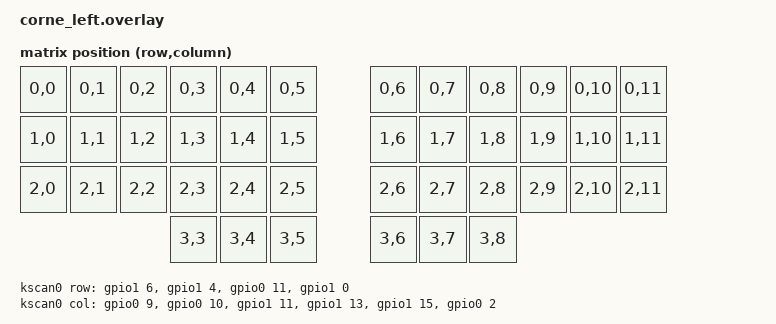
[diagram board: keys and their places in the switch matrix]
#include <dt-bindings/zmk/matrix_transform.h>

/ {
    chosen {
        zmk,kscan = &kscan0;
        zmk,matrix-transform = &default_transform;
    };

    // 4 Rows, 12 Columns master map layout for the Corne
    default_transform: keymap_transform_0 {
        compatible = "zmk,matrix-transform";
        columns = <12>;
        rows = <4>;

        map = <
RC(0,0) RC(0,1) RC(0,2) RC(0,3) RC(0,4) RC(0,5)  RC(0,6) RC(0,7) RC(0,8) RC(0,9) RC(0,10) RC(0,11)
RC(1,0) RC(1,1) RC(1,2) RC(1,3) RC(1,4) RC(1,5)  RC(1,6) RC(1,7) RC(1,8) RC(1,9) RC(1,10) RC(1,11)
RC(2,0) RC(2,1) RC(2,2) RC(2,3) RC(2,4) RC(2,5)  RC(2,6) RC(2,7) RC(2,8) RC(2,9) RC(2,10) RC(2,11)
                        RC(3,3) RC(3,4) RC(3,5)  RC(3,6) RC(3,7) RC(3,8)
        >;
    };

    kscan0: kscan_0 {
        compatible = "zmk,kscan-gpio-matrix";
        diode-direction = "col2row";
        wakeup-source;

        // Inverted row pins to drop the C keys back to the bottom row
        row-gpios
            = <&gpio1 6  (GPIO_ACTIVE_HIGH | GPIO_PULL_DOWN)> // Row 0
            , <&gpio1 4  (GPIO_ACTIVE_HIGH | GPIO_PULL_DOWN)> // Row 1
            , <&gpio0 11 (GPIO_ACTIVE_HIGH | GPIO_PULL_DOWN)> // Row 2
            , <&gpio1 0  (GPIO_ACTIVE_HIGH | GPIO_PULL_DOWN)> // Row 3
            ;

        col-gpios
            = <&gpio0 9  GPIO_ACTIVE_HIGH> // Col 0
            , <&gpio0 10 GPIO_ACTIVE_HIGH> // Col 1
            , <&gpio1 11 GPIO_ACTIVE_HIGH> // Col 2
            , <&gpio1 13 GPIO_ACTIVE_HIGH> // Col 3
            , <&gpio1 15 GPIO_ACTIVE_HIGH> // Col 4
            , <&gpio0 2  GPIO_ACTIVE_HIGH> // Col 5
            ;
    };
};


&pro_micro_i2c {
    status = "okay";

    oled0: oled@3c {
        compatible = "solomon,ssd1306fb";
        reg = <0x3c>;
        width = <128>;
        height = <32>;
        segment-offset = <0>;
        page-offset = <0>;
        display-offset = <0>;
        multiplex-ratio = <31>;
        prechargep = <0x22>; 
        
        // Removed ALL remap, invdir, and sequential flags to bypass strict YAML validation
        
        reset-gpios = <&gpio0 20 GPIO_ACTIVE_LOW>;
    };
};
